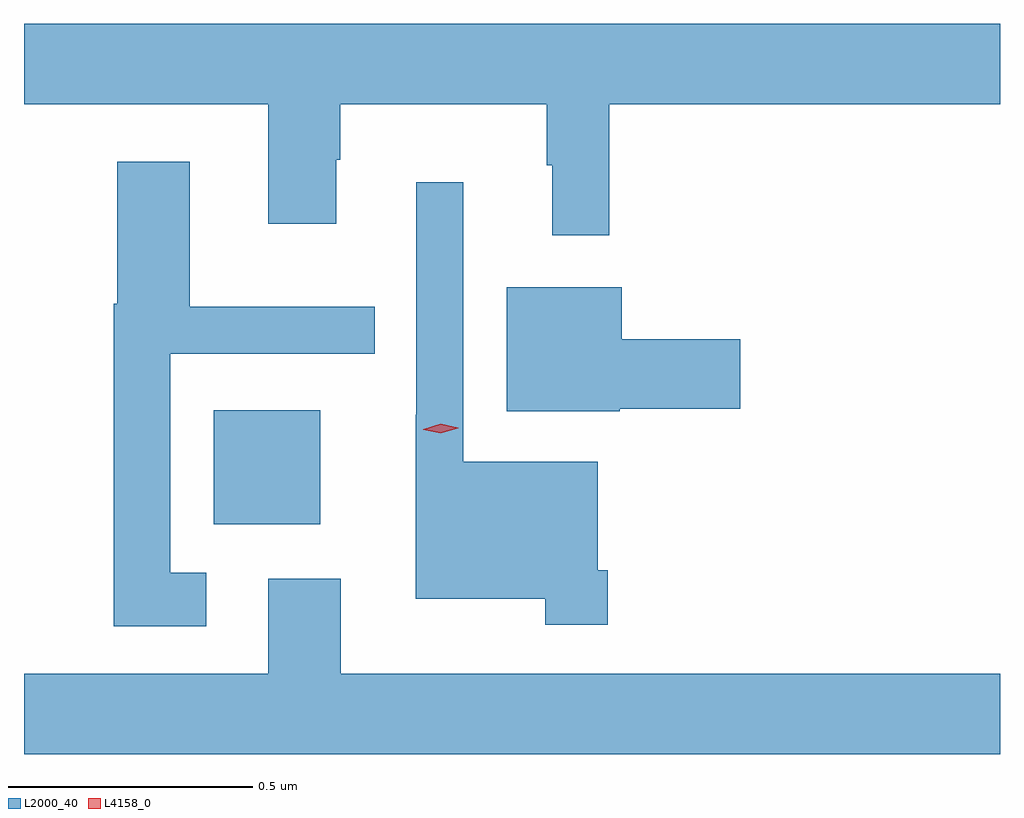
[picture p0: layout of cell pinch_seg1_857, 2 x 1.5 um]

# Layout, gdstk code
import gdstk
lib = gdstk.Library(unit=1e-6, precision=1e-09)
def R(c, l, rs):  # rectangles x0, y0, x1, y1
    for r in rs: c.add(gdstk.rectangle(r[:2], r[2:], *l))
def P(c, l, *ps):  # polygons
    for p in ps: c.add(gdstk.Polygon(p, *l))
L2000_40 = (2000, 40)
L4158_0 = (4158, 0)

pinch_seg1_857 = lib.new_cell('pinch_seg1_857')
R(pinch_seg1_857, L2000_40, [(497.876,552.203,498.094,552.436)])
P(pinch_seg1_857, L2000_40, [(498.686,553.064),(499.487,553.064),(499.487,553.228),(497.487,553.228),(497.487,553.064),(497.987,553.064),(497.987,552.819),(498.127,552.819),(498.127,552.95),(498.135,552.95),(498.135,553.064),(498.558,553.064),(498.558,552.938),(498.569,552.938),(498.569,552.795),(498.686,552.795)],
  [(497.86,552.103),(497.787,552.103),(497.787,552.552),(498.206,552.552),(498.206,552.649),(497.827,552.649),(497.827,552.946),(497.678,552.946),(497.678,552.655),(497.671,552.655),(497.671,551.994),(497.86,551.994)],
  [(498.683,552.109),(498.663,552.109),(498.663,552.331),(498.387,552.331),(498.387,552.904),(498.291,552.904),(498.291,552.427),(498.29,552.427),(498.29,552.05),(498.555,552.05),(498.555,551.997),(498.683,551.997)],
  [(498.708,552.44),(498.955,552.44),(498.955,552.582),(498.712,552.582),(498.712,552.688),(498.476,552.688),(498.476,552.434),(498.708,552.434)],
  [(499.487,551.896),(498.136,551.896),(498.136,552.091),(497.987,552.091),(497.987,551.896),(497.487,551.896),(497.487,551.732),(499.487,551.732)])
P(pinch_seg1_857, L4158_0, [(498.341,552.389),(498.305,552.397),(498.305,552.398),(498.305,552.398),(498.341,552.409),(498.377,552.401),(498.377,552.401),(498.377,552.4)])

lib.write_gds('pinch_seg1_857.gds')
